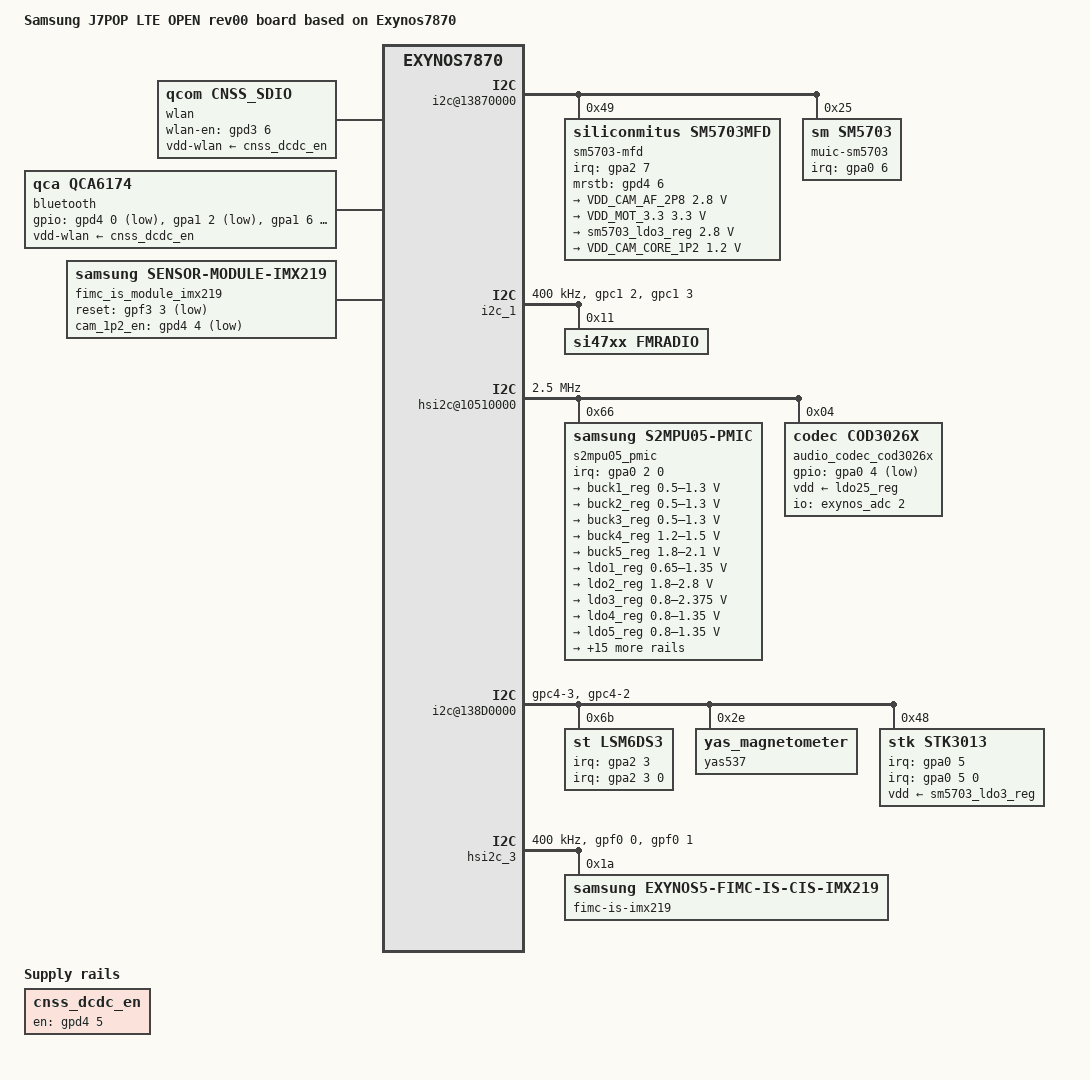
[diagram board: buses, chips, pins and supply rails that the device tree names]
/*
 * SAMSUNG UNIVERSAL8890 board device tree source
 *
 * Copyright (c) 2013 Samsung Electronics Co., Ltd.
 *		http://www.samsung.com
 *
 * This program is free software; you can redistribute it and/or modify
 * it under the terms of the GNU General Public License version 2 as
 * published by the Free Software Foundation.
*/

/dts-v1/;
#include "exynos7870-j7popelte_common.dtsi"
#include "modem-ss315ap-pdata.dtsi"
#include "exynos7870-j7popelte_usa_att_gpio_00.dtsi"
#include "exynos7870-j7popelte_usa_att_battery_00.dtsi"
#include "exynos7870-j7popelte_fingerprint-sensor_00.dtsi"

/ {
	model = "Samsung J7POP LTE OPEN rev00 board based on Exynos7870";
        model_info-chip = <7870>;
        model_info-platform = "android";
        model_info-subtype = "samsung";
        model_info-hw_rev = <0>;
        model_info-hw_rev_end = <0>;
	compatible = "samsung, J7POP LTE EUR OPEN 00", "samsung,exynos7870";

	cnss_dcdc_en: cnss_dcdc_en {
		compatible = "regulator-fixed";
		regulator-name = "cnss_dcdc_en";
		startup-delay-us = <4000>;
		enable-active-high;
		gpio = <&gpd4 5 0>;
	};

	i2c@13870000 {
		status = "okay";
		sm5703-mfd@49 {
			compatible = "siliconmitus,sm5703mfd";
			reg = <0x49>;
			pinctrl-names = "default";
			pinctrl-0 = <&chg_en &if_pmic_irq>;
			sm5703,irq-gpio = <&gpa2 7 0>;
			sm5703,mrstb-gpio = <&gpd4 6 0>;

			sm5703_ldo1 {
				compatible = "siliconmitus,sm5703-ldo1";
				regulator-name = "VDD_CAM_AF_2P8"; /* change name by yourself */
				regulator-min-microvolt = <2800000>;
				regulator-max-microvolt = <2800000>; /* max == min then apply_uV = 1 */
				/* regulator-microvolt-offset = < >; optional*/
				/* regulator-boot-on;*/ /* = "yes"; optional, exist = enabled */
				/* regulator-always-on;*/ /* = "yes"; optional, exist = enabled */
				/* regulator-ramp-delay = <100>; optional*/
			};

			sm5703_ldo2 {
				compatible = "siliconmitus,sm5703-ldo2";
				regulator-name = "VDD_MOT_3.3"; /* change name by yourself */
				regulator-min-microvolt = <3300000>;
				regulator-max-microvolt = <3300000>; /* max == min then apply_uV = 1 */
				/* regulator-microvolt-offset = < >; optional*/
				/* regulator-boot-on = "yes"; optional, exist = enabled */
				/* regulator-always-on = "yes"; optional, exist = enabled */
				/* regulator-ramp-delay = <100>; optional*/
			};

			sm5703_ldo3_reg: sm5703_ldo3 {
				compatible = "siliconmitus,sm5703-ldo3";
				regulator-name = "VDD_SENSOR_2P8"; /* change name by yourself */
				regulator-min-microvolt = <2800000>;
				regulator-max-microvolt = <2800000>; /* max == min then apply_uV = 1 */
				/* regulator-microvolt-offset = < >; optional*/
				/* regulator-boot-on;   = "yes"; optional, exist = enabled */
				/* regulator-always-on;   = "yes"; optional, exist = enabled */
				/* regulator-ramp-delay = <100>; optional*/
			};

			sm5703_buck {
				compatible = "siliconmitus,sm5703-buck";
				regulator-name = "VDD_CAM_CORE_1P2"; /* change name by yourself */
				regulator-min-microvolt = <1200000>;
				regulator-max-microvolt = <1200000>; /* max == min then apply_uV = 1 */
				/* regulator-microvolt-offset = < >; optional*/
				/* regulator-boot-on = "yes"; optional, exist = enabled */
				/* regulator-always-on = "yes"; optional, exist = enabled */
				/* regulator-ramp-delay = <100>; optional*/
			};

			sm5703_fled {
				compatible = "siliconmitus,sm5703-fled";
				enable = <1 1>;
				flash_current = <1200>;
				movie_current = <150>;
				torch_current = <150>;
				sm5703,led1-gpio = <&gpd3 2 0>;
				sm5703,led2-gpio = <&gpd3 3 0>;
			};
		};

		muic-sm5703@25 {
			compatible = "sm,sm5703";
			reg = <0x25>;
			pinctrl-names = "default";
			pinctrl-0 = <&muic_irq>;
			sm5703,irq-gpio = <&gpa0 6 0>;
		};
	};


	pinctrl@139F0000 {
		muic_irq: muic_irq {
			samsung,pins = "gpa0-6";
			samsung,pin-function = <0x0>;
			samsung,pin-pud = <3>;
		};
	};


	but_zones: but_zones {
		#list-but-cells = <3>;
	};

	s1402x: s1402x@14880000 {
		pinctrl-names = "default", "idle", "bt", "bt-idle", "fm", "fm-idle";
		pinctrl-0 = <&i2s_pmic_bus
				&i2s_bt_bus>;
		pinctrl-1 = <&i2s_pmic_bus_idle
				&i2s_bt_bus_idle> ;
		pinctrl-2 = <&i2s_pmic_bus
				&i2s_bt_bus>;
		pinctrl-3 = <&i2s_bt_bus_idle> ;
		pinctrl-4 = <&i2s_fm_bus>;
		pinctrl-5 = <&i2s_fm_bus_idle>;

		bck-mcko-mode;
		stand-alone-bt; /*Enable if for BT AP Master Mode*/
		status = "okay";
	};

	pinctrl@139F0000 {
		si47xx_int_default: si47xx_int_default {
			samsung,pins = "gpa2-6";
			samsung,pin-function = <0xf>;
			samsung,pin-pud = <0>;
			samsung,pin-val = <0>;
		};
	};

	pinctrl@139B0000 {
		si47xx_rst_default: si47xx_rst_default {
			samsung,pins = "gpf3-2";
			samsung,pin-function = <1>;
			samsung,pin-pud = <0>;
			samsung,pin-val = <0>;
		};
		i2c1_bus: i2c1-bus {
			samsung,pins = "gpc1-3", "gpc1-2";
			samsung,pin-function = <2>;
			samsung,pin-pud = <0>;
			samsung,pin-drv = <0>;
		};
	};

	i2c_1: i2c@13880000 {
		status = "okay";
		gpios = <&gpc1 2 0 &gpc1 3 0>;
		clock-frequency = <400000>;

		si47xx@11 {
			compatible = "si47xx,fmradio";
			reg = <0x11>;
			si47xx,mode = <1>;
			si47xx,reset = <&gpf3 2 0>;
			si47xx,interrupt = <&gpa2 6 0>;
			pinctrl-names = "default";
			pinctrl-0 = <&si47xx_rst_default &si47xx_int_default>;
			si47xx,rx-vol = <0x00 0x10 0x15 0x1A
							0x1E 0x22 0x25 0x28
							0x2A 0x2C 0x2E 0x31
							0x34 0x36 0x38 0x3A>;
		};
	};


	hsi2c@10510000 {
		status = "okay";
		samsung,hs-mode;
		clock-frequency = <2500000>;
		samsung,hsi2c-batcher;
		#address-cells = <1>;
		#size-cells = <0>;

		s2mpu05_pmic@66 {
			compatible = "samsung,s2mpu05-pmic";
			reg = <0x66>;
			ten-bit-address;
			interrupts = <2 0 0>;
			interrupt-parent = <&gpa0>;
			pinctrl-names = "default";
			pinctrl-0 = <&pmic_irq &pm_wrsti>;
			g3d_en = <1>; /* 1 : enable , 0 : disable */
			buck2en_pin = "etc1-3";
			buck2en_addr = "139B0080.pinctrl";
			/* RTC: wtsr/smpl */
			wtsr_en = <1>; /* enable */
			smpl_en = <1>; /* enable */
			wtsr_timer_val = <3>;   /* 1000ms */
			smpl_timer_val = <4>;   /* 500ms */
			check_jigon = <0>; /* do not check jigon */
			/* RTC: If it's first boot, reset rtc to 1/1/2016 12:00:00(Fri) */
			init_time,sec = <0>;
			init_time,min = <0>;
			init_time,hour = <12>;
			init_time,mday = <1>;
			init_time,mon = <0>;
			init_time,year = <116>;
			init_time,wday = <5>;

			regulators {
				buck1_reg: BUCK1 {
					regulator-name = "BUCK1";
					regulator-min-microvolt = <500000>;
					regulator-max-microvolt = <1300000>;
					regulator-always-on;
					regulator-boot-on;
					regulator-ramp-delay = <12000>;
					regulator-initial-mode = <1>;
					regulator-expected-consumer = <2>;
				};

				buck2_reg: BUCK2 {
					regulator-name = "BUCK2";
					regulator-min-microvolt = <500000>;
					regulator-max-microvolt = <1300000>;
					regulator-always-on;
					regulator-boot-on;
					regulator-ramp-delay = <12000>;
					regulator-initial-mode = <2>;		/* MIF mode */
					regulator-expected-consumer = <4>;
				};

				buck3_reg: BUCK3 {
					regulator-name = "BUCK3";
					regulator-min-microvolt = <500000>;
					regulator-max-microvolt = <1300000>;
					regulator-always-on;
					regulator-boot-on;
					regulator-ramp-delay = <12000>;
					regulator-initial-mode = <2>;
				};

				buck4_reg: BUCK4 {
					regulator-name = "BUCK4";
					regulator-min-microvolt = <1200000>;
					regulator-max-microvolt = <1500000>;
					regulator-always-on;
					regulator-boot-on;
					regulator-ramp-delay = <12000>;
					regulator-initial-mode = <2>;
				};

				buck5_reg: BUCK5 {
					regulator-name = "BUCK5";
					regulator-min-microvolt = <1800000>;
					regulator-max-microvolt = <2100000>;
					regulator-always-on;
					regulator-boot-on;
					regulator-ramp-delay = <12000>;
					regulator-initial-mode = <2>;
				};

				ldo1_reg: LDO1 {
					regulator-name = "vdd_ldo1";
					regulator-min-microvolt = <650000>;
					regulator-max-microvolt = <1350000>;
					regulator-always-on;
					regulator-boot-on;
					regulator-ramp-delay = <12000>;
					regulator-initial-mode = <3>;
				};

				ldo2_reg: LDO2 {
					regulator-name = "vqmmc";
					regulator-min-microvolt = <1800000>;
					regulator-max-microvolt = <2800000>;
					regulator-ramp-delay = <12000>;
					regulator-initial-mode = <0>;
				};

				ldo3_reg: LDO3 {
					regulator-name = "vdd_ldo3";
					regulator-min-microvolt = <800000>;
					regulator-max-microvolt = <2375000>;
					regulator-boot-on;
					regulator-always-on;
					regulator-ramp-delay = <12000>;
					regulator-initial-mode = <3>;
				};

				ldo4_reg: LDO4 {
					regulator-name = "vdd_ldo4";
					regulator-min-microvolt = <800000>;
					regulator-max-microvolt = <1350000>;
					regulator-boot-on;
					regulator-always-on;
					regulator-ramp-delay = <12000>;
					regulator-initial-mode = <1>;
				};

				ldo5_reg: LDO5 {
					regulator-name = "vdd_ldo5";
					regulator-min-microvolt = <800000>;
					regulator-max-microvolt = <1350000>;
					regulator-boot-on;
					regulator-always-on;
					regulator-ramp-delay = <12000>;
					regulator-initial-mode = <3>;
				};

				ldo6_reg: LDO6 {
					regulator-name = "vdd_ldo6";
					regulator-min-microvolt = <800000>;
					regulator-max-microvolt = <1350000>;
					regulator-boot-on;
					regulator-always-on;
					regulator-ramp-delay = <12000>;
					regulator-initial-mode = <1>;
				};

				ldo7_reg: LDO7 {
					regulator-name = "vdd_ldo7";
					regulator-min-microvolt = <800000>;
					regulator-max-microvolt = <2375000>;
					regulator-boot-on;
					regulator-always-on;
					regulator-ramp-delay = <12000>;
					regulator-initial-mode = <1>;
				};

				ldo8_reg: LDO8 {
					regulator-name = "vdd_ldo8";
					regulator-min-microvolt = <1800000>;
					regulator-max-microvolt = <3375000>;
					regulator-boot-on;
					regulator-always-on;
					regulator-ramp-delay = <12000>;
					regulator-initial-mode = <1>;
				};

				ldo9_reg: LDO9 {
					regulator-name = "vdd_ldo9";
					regulator-min-microvolt = <650000>;
					regulator-max-microvolt = <1350000>;
					regulator-always-on;
					regulator-ramp-delay = <12000>;
					regulator-initial-mode = <1>;
				};

				ldo10_reg: LDO10 {
					regulator-name = "vdd_ldo10";
					regulator-min-microvolt = <650000>;
					regulator-max-microvolt = <1350000>;
					regulator-always-on;
					regulator-ramp-delay = <12000>;
					regulator-initial-mode = <1>;
				};

				ldo25_reg: LDO25 {
					regulator-name = "vdd_ldo25";
					regulator-min-microvolt = <800000>;
					regulator-max-microvolt = <2375000>;
					regulator-ramp-delay = <12000>;
					regulator-initial-mode = <1>;
				};

				ldo26_reg: LDO26 {
					regulator-name = "vemmc";
					regulator-min-microvolt = <1800000>;
					regulator-max-microvolt = <3375000>;
					regulator-boot-on;
					regulator-ramp-delay = <12000>;
					regulator-initial-mode = <3>;
				};

				ldo27_reg: LDO27 {
					regulator-name = "vqemmc";
					regulator-min-microvolt = <800000>;
					regulator-max-microvolt = <2375000>;
					regulator-boot-on;
					regulator-ramp-delay = <12000>;
					regulator-initial-mode = <3>;
				};

				ldo29_reg: LDO29 {
					regulator-name = "LCD_3P0";
					regulator-min-microvolt = <3000000>;
					regulator-max-microvolt = <3000000>;
					regulator-initial-mode = <0>;
				};

				ldo30_reg: LDO30 {
					regulator-name = "VDD_VTCAM_CORE_1P2";
					regulator-min-microvolt = <1200000>;
					regulator-max-microvolt = <1200000>;
					regulator-boot-on;
					regulator-initial-mode = <0>;
				};

				ldo31_reg: LDO31 {
					regulator-name = "vdd_ldo31";
					regulator-min-microvolt = <2800000>;
					regulator-max-microvolt = <2800000>;
					regulator-boot-on;
					regulator-always-on;
					regulator-ramp-delay = <12000>;
					regulator-initial-mode = <3>;
				};

				ldo32_reg: LDO32 {
					regulator-name = "VDDIO_1.8V_CAM";
					regulator-min-microvolt = <1800000>;
					regulator-max-microvolt = <1800000>;
					regulator-initial-mode = <0>;
				};

				ldo33_reg: LDO33 {
					regulator-name = "vtouch_2.2v";
					regulator-min-microvolt = <2200000>;
					regulator-max-microvolt = <2200000>;
					regulator-ramp-delay = <12000>;
					regulator-boot-on;
				};

				ldo34_reg: LDO34 {
					regulator-name = "BAT_ID_1.8V";
					regulator-min-microvolt = <1800000>;
					regulator-max-microvolt = <1800000>;
					regulator-always-on;
				};

				ldo35_reg: LDO35 {
					regulator-name = "VDD_CAM_SENSOR_A2P8";
					regulator-min-microvolt = <2800000>;
					regulator-max-microvolt = <2800000>;
					regulator-initial-mode = <0>;
				};
			};
		};

		audio_codec_cod3026x: cod3026x@04 {
			compatible = "codec,cod3026x";
			reg = <0x04>;
			ten-bit-address;
			vdd-supply = <&ldo25_reg>;
			pinctrl-names = "default";
			pinctrl-0 = <&cod3026_irq>;
			interrupt-parent = <&gpa0>;
			gpios = <&gpa0 4 0xf>;
			mic-bias1-voltage = <1>;
			mic-bias2-voltage = <1>;
			mic-bias-ldo-voltage = <3>;
			use-det-adc-mode;
			io-channels = <&exynos_adc 2>;
			io-channel-names = "adc-jack";
			#io-channel-cells = <1>;
			io-channel-ranges;
			but-zones-list = <&but_zones 226 0 200>, /* send/end */
					<&but_zones 582 201 290>, /* google */
					<&but_zones 115 291 496>, /* vol up */
					<&but_zones 114 497 1000>; /* vol down */
			mic-adc-range = <1350>;
			mic-det-delay = <550>;
		};
	};

	wlan {
		compatible = "qcom,cnss_sdio";
		wlan-en-gpio = <&gpd3 6 0>; /* WLAN_EN */
		wlan-host-wake = <&gpa2 2 0>; /* WLAN_HOST_WAKE */
		vdd-wlan-supply = <&cnss_dcdc_en>; /* DCDC_EN regulator */
		pinctrl-names = "default";
		pinctrl-0 = <&cnss_wlanen &cfg_wlanhostwake>;
		status = "okay";
	};

	pinctrl@13750000 {
		sd1_bus1: sd1-bus-width1 {
			samsung,pin-pud = <3>;
		};

		sd1_bus4: sd1-bus-width4 {
			samsung,pin-pud = <3>;
		};
	};

	bluetooth {
		compatible = "qca,qca6174";
		gpios = <&gpd4 0 0x1	/*BT_EN*/
                         &gpa1 2 0x1	/*BT_WAKE*/
                         &gpa1 6 0xF	/*BT_HOST_WAKE*/ >;
		vdd-wlan-supply = <&cnss_dcdc_en>; /* DCDC_EN regulator */
		pinctrl-names = "default";
		pinctrl-0=<&bt_hostwake &bt_btwake &bt_en>;
		status = "okay";
	};

	pinctrl@139F0000 {
		acc_int: acc_int {
			samsung,pins = "gpa2-3";
			samsung,pin-function = <0xf>;
			samsung,pin-pud = <0>;
			samsung,pin-drv = <0>;
		};

		prox_int: prox_int {
			samsung,pins = "gpa0-5";
			samsung,pin-function = <0xf>;
			samsung,pin-pud = <0>;
			samsung,pin-drv = <0>;
		};
	};

	pinctrl@139B0000 {
		sensor_i2c: sensor_i2c {
			samsung,pins = "gpc4-3", "gpc4-2";
			samsung,pin-function = <2>;
			samsung,pin-pud = <0>;
		};
		vibetonz_pwm: vibetonz_pwm {
			samsung,pins = "gpc0-1";
			samsung,pin-function = <2>;
			samsung,pin-pud = <1>;
			samsung,pin-drv = <0>;
		};
		cnss_wlanen: cnss-wlanen  {       /* WLAN_EN */
			samsung,pins = "gpd3-6";
			samsung,pin-function = <1>;
			samsung,pin-pud = <0>;
			samsung,pin-drv = <3>;
			samsung,pin-con-pdn = <3>;
			samsung,pin-pud-pdn = <0>;
			samsung,pin-val = <0>;
		};
	};

	i2c@138D0000 {
		samsung,i2c-sda-delay = <100>;
		samsung,i2c-max-bus-freq = <400000>;
		status = "okay";
		#address-cells = <1>;
		#size-cells = <0>;
		pinctrl-names = "default";
		pinctrl-0 = <&sensor_i2c>;

		lsm6ds3@6b {
			compatible = "st,lsm6ds3";
			reg = <0x6b>;
			pinctrl-names = "default";
			pinctrl-0 = <&acc_int>;
			interrupt-parent = <&gpa2>;
			interrupts = <3 0 0>;
			st,orientation = <1 0 1 0 1 1 1 1 0>;
			st,drdy-int-pin = <1>;
			st,irq_gpio = <&gpa2 3 0x00>;
		};

		yas537@2e {
			compatible = "yas_magnetometer";
			reg = <0x2e>;
			yas,orientation = <6>;
			yas,softiron = <10000 0 0 0 10000 0 0 0 10000>;
			yas,softiron_sign = <2 1 1 1 2 1 1 1 2>;
		};

		stk3013@48 {
			compatible = "stk,stk3013";
			reg = <0x48>;
			interrupt-parent = <&gpa0>;
			interrupts = <5 0 0>;
			pinctrl-names = "default";
			pinctrl-0 = <&prox_int>;
			stk,irq-gpio = <&gpa0 5 0x00>;
			stk,vdd-supply = <&sm5703_ldo3_reg>;
			stk,state-reg = <0x2d>;
			stk,psctrl-reg = <0x71>;
			stk,alsctrl-reg = <0x2A>;
			stk,ledctrl-reg = <0xBF>;
			stk,wait-reg = <0x03>;
			stk,ps-thd-h = <20>;
			stk,ps-thd-l = <13>;
			stk,ps-cancel-thd-h = <10>;
			stk,ps-cancel-thd-l = <7>;
			stk,ps-cal-skip-adc = <10>;
			stk,ps-cal-fail-adc = <20>;
			stk,ps-default-offset = <3>;
			stk,transmittance = <500>;
		};
	};
	isa1000 {
		compatible = "isa1000";
		pinctrl-names = "default";
		pinctrl-0 = <&vibetonz_pwm>;
		isa1000_pdata {
			status = "okay";
			isa1000,max_timeout = <10000>;
			isa1000,pwm_use = <1>;
			isa1000,duty = <32850>;
			isa1000,period = <37820>;
			isa1000,pwm_id = <0>;
			isa1000,gpio_en = <&gpc7 4 0>;
			isa1000,regulator_name = "VDD_MOT_3.3";
		};
	};

	fimc_is_module_imx219: fimc-is_sensor_imx219@34 {
		compatible = "samsung,sensor-module-imx219";

		pinctrl-names = "pin0", "pin1";
		pinctrl-0 = <&fimc_is_mclk0_in &fimc_is_flash>;
		pinctrl-1 = <&fimc_is_mclk0_fn &fimc_is_flash>;

		position = <0>; /* Rear:0. Front:1 */
		id = <0>; /* sensor node id */
		mclk_ch = <0>;
		sensor_i2c_ch = <0>; /* I2C 0 */
		sensor_i2c_addr = <0x34>;

		gpio_reset = <&gpf3 3 0x1>; /* sensor reset */
		gpio_cam_1p2_en = <&gpd4 4 0x1>; /* CAM_1P2 enable pin */
		status = "okay";

		af {
			product_name = <13>; /* ACTUATOR_NAME_DW9807 */
			i2c_addr = <0x18>;
			i2c_ch = <1>;
		};

		/* TODO : need to update */
		flash {
			product_name = <11>; /* FLASH_GPIO */
			flash_first_gpio = <2>;
			flash_second_gpio = <1>;
		};
	};

	hsi2c_3: hsi2c@138A0000 {
		gpios = <&gpf0 0 0 &gpf0 1 0>;
		status = "okay";
		clock-frequency = <400000>;

		pinctrl-names = "default";
		pinctrl-0 = <&hs_i2c3_bus>;

		fimc-is-imx219@34 {
			compatible = "samsung,exynos5-fimc-is-cis-imx219";
			reg = <0x1A>; /* 7bit */
			id = <0>; /* matching sensor id */
			setfile = "setA";
		};
	};
};
